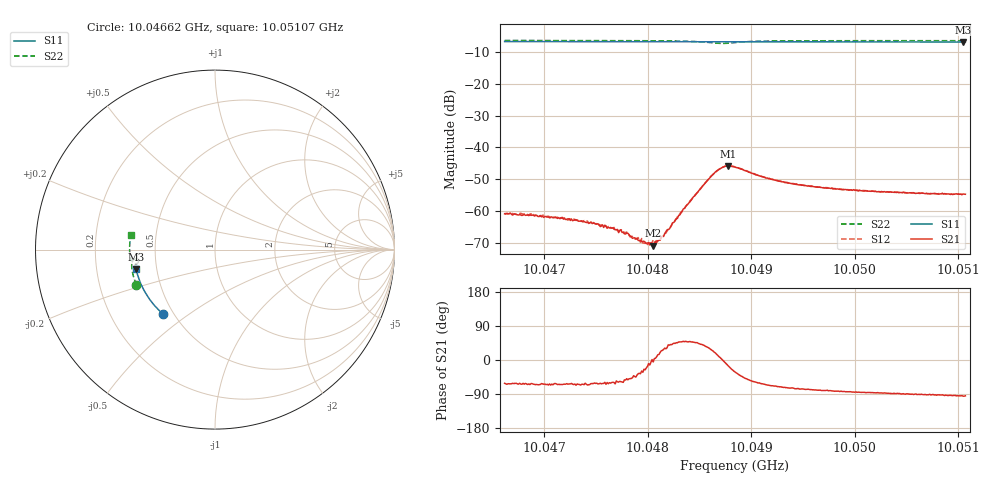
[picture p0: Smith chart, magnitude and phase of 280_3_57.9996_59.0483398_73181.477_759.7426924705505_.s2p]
#  HZ  S  RI  R  50.00
! Rohde & Schwarz Vector Network Analyzer
! Rohde-Schwarz,ZNB20-2Port,1311601062101988,3.16
! Created: UTC 3/21/2024, 1:02:51 AM
! freq[Hz]  re:S11  im:S11  re:S21  im:S21  re:S12  im:S12  re:S22  im:S22
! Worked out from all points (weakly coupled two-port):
!   401 points, 10.04662 GHz to 10.05107 GHz, reference 50 ohm
!   highest |S21| = -45.86 dB at 10.04878 GHz (marker M1); lowest = -70.8 dB at 10.04805 GHz (marker M2)
!   lowest |S11| = -6.9 dB at 10.05105 GHz (marker M3), VSWR 2.66, Z = 19.1 - j5.3 ohm
!   |S11| at or under -10 dB: nowhere
!   |S22| runs from -7.3 to -6.4 dB; largest |S21 - S12| = 0.00035
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1.0046619e10  -0.2923 -0.3564  0.000433 -0.000798  0.000497 -0.000789  -0.4374 -0.1966
1.0046852e10  -0.3036 -0.3461  0.000383 -0.000758  0.000456 -0.000747  -0.443 -0.182
1.0047364e10  -0.3275 -0.3221  0.000302 -0.000619  0.000354 -0.000612  -0.4542 -0.1487
1.0047498e10  -0.3335 -0.3154  0.000298 -0.000556  0.000318 -0.000542  -0.4567 -0.1397
1.0047653e10  -0.3403 -0.3077  0.000275 -0.000466  0.000278 -0.00047  -0.4593 -0.1288
1.0047709e10  -0.3426 -0.3049  0.000276 -0.000437  0.000285 -0.000407  -0.4601 -0.1249
1.0047742e10  -0.344 -0.3032  0.000274 -0.00043  0.000326 -0.000393  -0.4605 -0.1223
1.0047976e10  -0.3535 -0.2911  0.000293 -0.000142  0.000282 -0.000132  -0.4633 -0.105
1.004802e10  -0.3554 -0.2887  0.000286 -6.74e-05  0.000316 -3.59e-05  -0.4638 -0.1016
1.0048054e10  -0.3568 -0.287  0.000286 -2.6e-05  0.000354 2.93e-05  -0.4639 -0.0988
1.0048109e10  -0.3589 -0.2841  0.000339 8.87e-05  0.000323 0.000129  -0.4641 -0.0944
1.0048176e10  -0.3616 -0.2806  0.000414 0.000234  0.000381 0.000248  -0.4641 -0.0887
1.0048388e10  -0.3695 -0.2691  0.000861 0.000947  0.00081 0.00101  -0.4609 -0.0688
1.004861e10  -0.3776 -0.2567  0.00309 0.00161  0.003 0.00183  -0.4403 -0.0513
1.0048699e10  -0.3804 -0.2519  0.00459 0.000541  0.0046 0.000796  -0.4277 -0.0583
1.0048777e10  -0.383 -0.2477  0.00491 -0.00134  0.00504 -0.00105  -0.4279 -0.0719
1.0048844e10  -0.3855 -0.2442  0.00419 -0.00257  0.00439 -0.00233  -0.4369 -0.0786
1.0049211e10  -0.3975 -0.2231  0.00116 -0.00289  0.00131 -0.00287  -0.4685 -0.0533
1.0049589e10  -0.4086 -0.2009  0.000483 -0.0024  0.000621 -0.00239  -0.4745 -0.0227
1.0050334e10  -0.4267 -0.1553  6.72e-05 -0.002  0.000189 -0.00199  -0.4748 0.0303
1.0051046e10  -0.4394 -0.1104  -0.000173 -0.00185  -4.9e-05 -0.00184  -0.4692 0.0779
1.0051069e10  -0.4398 -0.109  -0.000146 -0.00184  -4.28e-05 -0.00184  -0.469 0.0792
